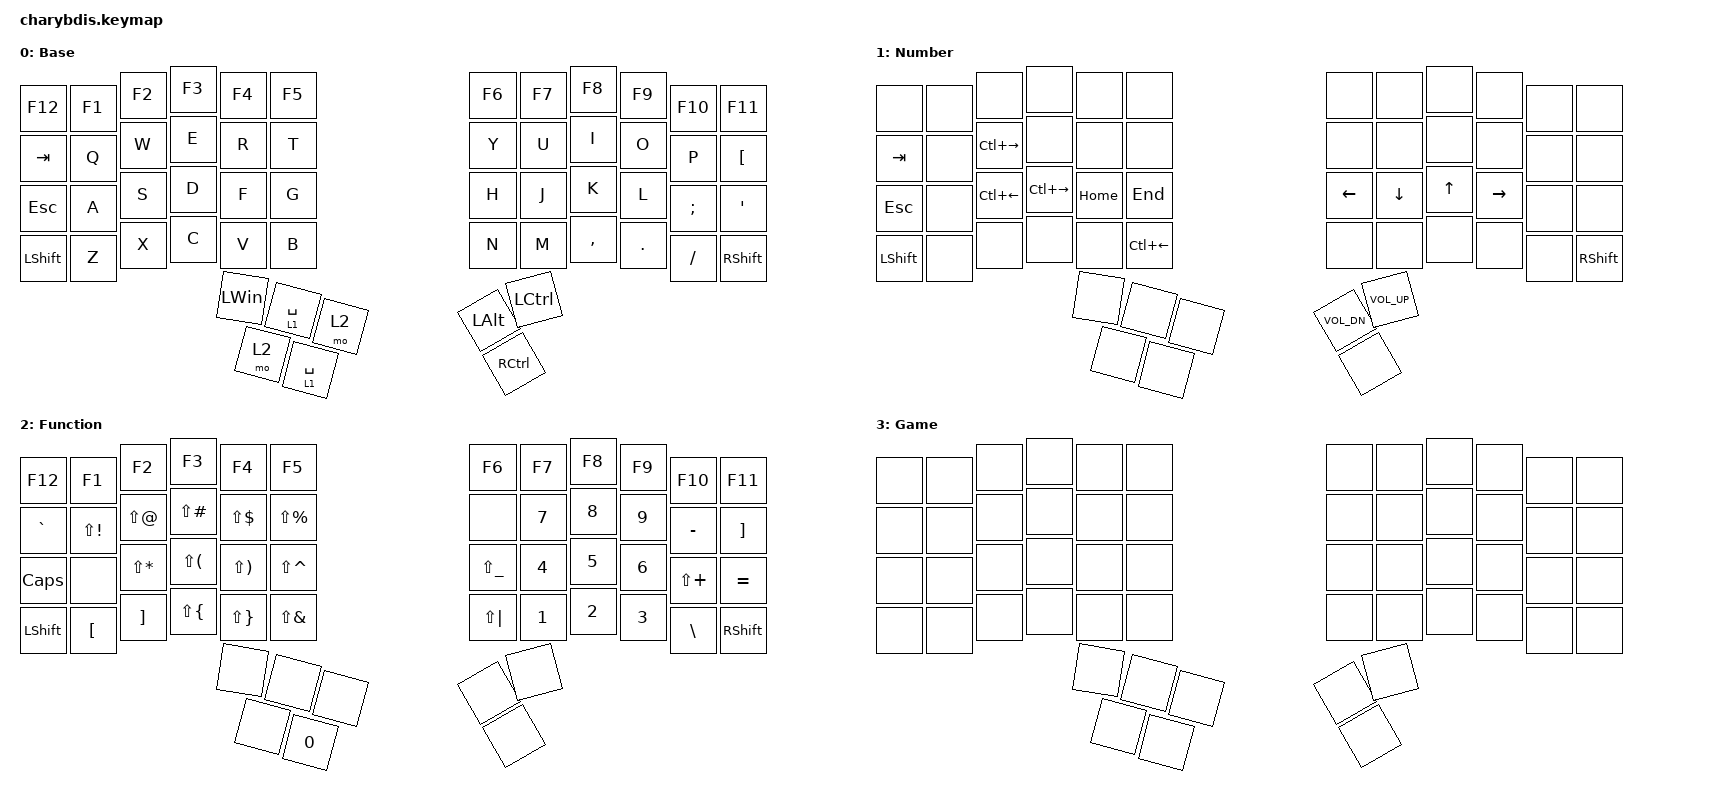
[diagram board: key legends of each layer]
#include <behaviors.dtsi>
#include <dt-bindings/zmk/keys.h>
#include <dt-bindings/zmk/pointing.h>

#define BASE 0
#define MOUSE 1
#define SYMBOL 2
#define NUMBER 3
#define FUNCTION 4
#define GAME 5
#define RESET 6
#define KEYS_L 0 1 2 3 4 10 11 12 13 14 20 21 22 23 24
#define KEYS_R 5 6 7 8 9 15 16 17 18 19 25 26 27 28 29
#define THUMBS 30 31 32 33 34 35

&sk {
    release-after-ms = <600>;
    quick-release;
};

&sl { ignore-modifiers; };

&mt { flavor = "tap-preferred"; };

&lt {
    flavor = "balanced";
    tapping-term-ms = <200>;
    quick-tap-ms = <175>;
};

&caps_word { /delete-property/ ignore-modifiers; };

/ {
    behaviors {
        hml: hml {
            compatible = "zmk,behavior-hold-tap";
            #binding-cells = <2>;
            flavor = "balanced";
            tapping-term-ms = <2000>;
            quick-tap-ms = <175>;
            require-prior-idle-ms = <250>;
            hold-trigger-key-positions = <KEYS_R THUMBS>;
            hold-trigger-on-release;
            bindings = <&kp>, <&kp>;
        };

        hmr: hmr {
            compatible = "zmk,behavior-hold-tap";
            #binding-cells = <2>;
            flavor = "balanced";
            tapping-term-ms = <2000>;
            quick-tap-ms = <175>;
            require-prior-idle-ms = <250>;
            hold-trigger-key-positions = <KEYS_L THUMBS>;
            hold-trigger-on-release;
            bindings = <&kp>, <&kp>;
        };

        hml_s: hml_s {
            compatible = "zmk,behavior-hold-tap";
            #binding-cells = <2>;
            flavor = "balanced";
            tapping-term-ms = <2000>;
            quick-tap-ms = <175>;
            require-prior-idle-ms = <0>;
            hold-trigger-key-positions = <KEYS_R THUMBS>;
            hold-trigger-on-release;
            bindings = <&kp>, <&kp>;
        };

        hmr_s: hmr_s {
            compatible = "zmk,behavior-hold-tap";
            #binding-cells = <2>;
            flavor = "balanced";
            tapping-term-ms = <2000>;
            quick-tap-ms = <175>;
            require-prior-idle-ms = <0>;
            hold-trigger-key-positions = <KEYS_L THUMBS>;
            hold-trigger-on-release;
            bindings = <&kp>, <&kp>;
        };

        smart_shift: smart_shift {
            compatible = "zmk,behavior-mod-morph";
            #binding-cells = <0>;
            bindings = <&sk LSHIFT>, <&caps_word>;

            mods = <(MOD_LSFT)>;
        };
    };

    combos {
        compatible = "zmk,combos";
        timeout-ms = <20>;
        require-prior-idle-ms = <250>;

        bootloader {
            key-positions = <0 11>;
            bindings = <&bootloader>;
        };

        studio_unlock {
            key-positions = <0 4>;
            bindings = <&studio_unlock>;
        };

        scroll {
            key-positions = <44 45>;
            bindings = <&tog 3>;
        };

        enter {
            key-positions = <20 21>;
            bindings = <&kp ENTER>;
        };

        backspace {
            key-positions = <19 20>;
            bindings = <&kp BACKSPACE>;
        };

        delete {
            key-positions = <15 14>;
            bindings = <&kp DELETE>;
        };

        left_click {
            key-positions = <31 32>;
            bindings = <&mkp LCLK>;
        };

        right_click {
            key-positions = <32 33>;
            bindings = <&mkp RCLK>;
        };

        middle_click {
            key-positions = <43 44>;
            bindings = <&mkp MCLK>;
        };
    };

    chosen { zmk,physical-layout = &charybdis_6col_layout; };

    keymap {
        compatible = "zmk,keymap";

        Base {
            label = "Base";
            display-name = "Base";
            bindings = <
&kp F12    &kp F1  &kp F2  &kp F3        &kp F4        &kp F5              &kp F6             &kp F7       &kp F8     &kp F9   &kp F10   &kp F11
&kp TAB    &kp Q   &kp W   &kp E         &kp R         &kp T               &kp Y              &kp U        &kp I      &kp O    &kp P     &kp LEFT_BRACKET
&kp ESC    &kp A   &kp S   &kp D         &kp F         &kp G               &kp H              &kp J        &kp K      &kp L    &kp SEMI  &kp APOS
&kp LSHFT  &kp Z   &kp X   &kp C         &kp V         &kp B               &kp N              &kp M        &kp COMMA  &kp DOT  &kp FSLH  &kp RIGHT_SHIFT
                           &kp LEFT_WIN  &lt 1 SPACE   &mo 2               &mo 2              &lt 1 SPACE
                                         &kp LEFT_ALT  &kp LEFT_CONTROL    &kp RIGHT_CONTROL
            >;
        };

        Nav {
            label = "Number";
            display-name = "Number";
            bindings = <
&none           &none  &none          &none          &none         &none           &none     &none     &none   &none      &none  &none
&kp TAB         &none  &kp LC(RIGHT)  &none          &none         &none           &none     &none     &none   &none      &none  &none
&kp ESCAPE      &none  &kp LC(LEFT)   &kp LC(RIGHT)  &kp HOME      &kp END         &kp LEFT  &kp DOWN  &kp UP  &kp RIGHT  &none  &none
&kp LEFT_SHIFT  &none  &none          &none          &none         &kp LC(LEFT)    &none     &none     &none   &none      &none  &kp RIGHT_SHIFT
                                      &none          &none         &none           &none     &none
                                                     &kp C_VOL_DN  &kp C_VOL_UP    &none
            >;
        };

        Sym {
            label = "Function";
            display-name = "Function";
            bindings = <
&kp F12    &kp F1        &kp F2        &kp F3         &kp F4        &kp F5           &kp F6         &kp F7  &kp F8  &kp F9  &kp F10        &kp F11
&kp GRAVE  &kp LS(EXCL)  &kp LS(AT)    &kp LS(POUND)  &kp LS(DLLR)  &kp LS(PRCNT)    &none          &kp N7  &kp N8  &kp N9  &kp MINUS      &kp RBKT
&kp CAPS   &none         &kp LS(STAR)  &kp LS(LPAR)   &kp LS(RPAR)  &kp LS(CARET)    &kp LS(UNDER)  &kp N4  &kp N5  &kp N6  &kp LS(PLUS)   &kp EQUAL
&kp LSHFT  &kp LBKT      &kp RBKT      &kp LS(LBRC)   &kp LS(RBRC)  &kp LS(AMPS)     &kp LS(PIPE)   &kp N1  &kp N2  &kp N3  &kp BACKSLASH  &kp RSHFT
                                       &none          &none         &none            &none          &kp N0
                                                      &none         &none            &none
            >;
        };

        scroll_layer {
            label = "Game";
            display-name = "Game";
            bindings = <
&none  &none  &none  &none  &none  &none    &none  &none  &none  &none  &none  &none
&none  &none  &none  &none  &none  &none    &none  &none  &none  &none  &none  &none
&none  &none  &none  &none  &none  &none    &none  &none  &none  &none  &none  &none
&none  &none  &none  &none  &none  &none    &none  &none  &none  &none  &none  &none
                     &none  &none  &none    &none  &none
                            &none  &none    &none
            >;
        };
    };
};
